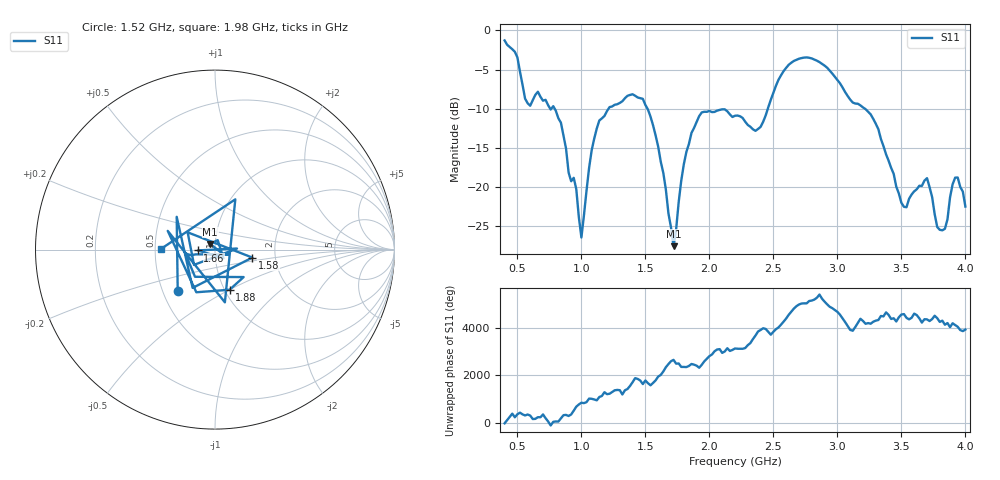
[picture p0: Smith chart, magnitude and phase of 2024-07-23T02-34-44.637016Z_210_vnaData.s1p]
!Created with skrf (http://scikit-rf.org).
# Hz S RI R 50.0
!freq ReS11 ImS11
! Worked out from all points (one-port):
!   181 points, 400 MHz to 4 GHz, reference 50 ohm
!   lowest |S11| = -27.6 dB at 1.72 GHz (marker M1), VSWR 1.09, Z = 47.3 + j3.02 ohm
!   |S11| at or under -10 dB: 790.8 MHz to 1.212 GHz (421.4 MHz wide, 42.1 % of centre); 1.516 GHz to 2.457 GHz (940.6 MHz wide, 47.4 % of centre); 3.214 GHz to end of sweep (the widest 3 of 4)
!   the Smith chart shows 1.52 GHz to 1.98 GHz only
!   S11 on the Smith chart (normalised r, x): 1.52 GHz: 0.60, -0.31; 1.58 GHz: 1.52, -0.14; 1.66 GHz: 0.83, -0.01; 1.88 GHz: 1.06, -0.50; 1.98 GHz: 0.54, +0.00
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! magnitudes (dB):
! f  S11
! 400 MHz  -1.3
! 500 MHz  -3.4
! 580 MHz  -9.3
! 660 MHz  -7.8
! 860 MHz  -13.5
! 960 MHz  -20.3
! 1 GHz  -26.5
! 1.12 GHz  -12.5
! 1.3 GHz  -9.3
! 1.52 GHz  -10.1
! 1.58 GHz  -13.4
! 1.66 GHz  -20.4
! 1.72 GHz  -27.6
! 1.76 GHz  -22.0
! 1.88 GHz  -12.5
! 1.98 GHz  -10.4
! 2.2 GHz  -10.9
! 2.4 GHz  -12.3
! 2.66 GHz  -3.9
! 2.86 GHz  -4.0
! 3.1 GHz  -8.8
! 3.26 GHz  -10.7
! 3.5 GHz  -22.1
! 3.56 GHz  -21.5
! 3.7 GHz  -18.9
! 3.82 GHz  -25.6
! 3.94 GHz  -18.8
! 4 GHz  -22.5
